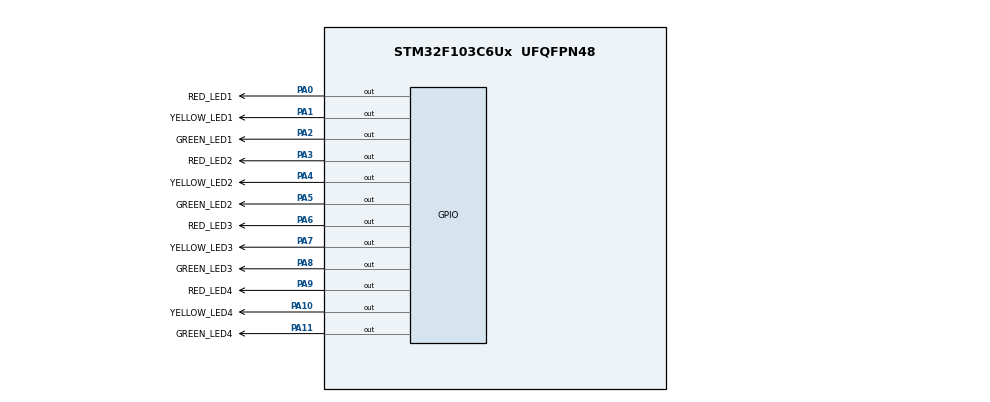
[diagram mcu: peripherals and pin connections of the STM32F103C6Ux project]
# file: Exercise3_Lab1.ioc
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Mcu.Family=STM32F1
Mcu.Name=STM32F103C6Ux
Mcu.Package=UFQFPN48
NVIC.PriorityGroup=NVIC_PRIORITYGROUP_4
PA0-WKUP.GPIO_Label=RED_LED1
PA0-WKUP.Signal=GPIO_Output
PA1.GPIO_Label=YELLOW_LED1
PA1.Signal=GPIO_Output
PA10.GPIO_Label=YELLOW_LED4
PA10.Signal=GPIO_Output
PA11.GPIO_Label=GREEN_LED4
PA11.Signal=GPIO_Output
PA2.GPIO_Label=GREEN_LED1
PA2.Signal=GPIO_Output
PA3.GPIO_Label=RED_LED2
PA3.Signal=GPIO_Output
PA4.GPIO_Label=YELLOW_LED2
PA4.Signal=GPIO_Output
PA5.GPIO_Label=GREEN_LED2
PA5.Signal=GPIO_Output
PA6.GPIO_Label=RED_LED3
PA6.Signal=GPIO_Output
PA7.GPIO_Label=YELLOW_LED3
PA7.Signal=GPIO_Output
PA8.GPIO_Label=GREEN_LED3
PA8.Signal=GPIO_Output
PA9.GPIO_Label=RED_LED4
PA9.Signal=GPIO_Output
ProjectManager.HeapSize=0x200
ProjectManager.StackSize=0x400
ProjectManager.TargetToolchain=STM32CubeIDE
RCC.APB1Freq_Value=8000000
RCC.APB2Freq_Value=8000000
VP_SYS_VS_ND.Mode=No_Debug
board=custom

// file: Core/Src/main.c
/* USER CODE BEGIN Header */
/**
  ******************************************************************************
  * @file           : main.c
  * @brief          : Main program body
  ******************************************************************************
  * @attention
  *
  * <h2><center>&copy; Copyright (c) 2025 STMicroelectronics.
  * All rights reserved.</center></h2>
  *
  * This software component is licensed by ST under BSD 3-Clause license,
  * the "License"; You may not use this file except in compliance with the
  * License. You may obtain a copy of the License at:
  *                        opensource.org/licenses/BSD-3-Clause
  *
  ******************************************************************************
  */
/* USER CODE END Header */
#include "main.h"

void SystemClock_Config(void);
static void MX_GPIO_Init(void);

int main(void)
{

  /* MCU Configuration--------------------------------------------------------*/

  /* Reset of all peripherals, Initializes the Flash interface and the Systick. */
  HAL_Init();

  /* Configure the system clock */
  SystemClock_Config();

  /* Initialize all configured peripherals */
  MX_GPIO_Init();

  /* Infinite loop */
  /* USER CODE BEGIN WHILE */
  typedef struct {
      int RED_STATE;
      int YELLOW_STATE;
      int GREEN_STATE;
      int counter;
      GPIO_TypeDef* RED_Port;
      uint16_t RED_Pin;
      GPIO_TypeDef* YELLOW_Port;
      uint16_t YELLOW_Pin;
      GPIO_TypeDef* GREEN_Port;
      uint16_t GREEN_Pin;
  } TrafficLight;
  void updateIntersection(TrafficLight* NS1, TrafficLight* NS2,
                             TrafficLight* EW1, TrafficLight* EW2, int* counter) {
         int t = *counter;

         if (t < 3) {
             NS1->RED_STATE = 0; NS1->YELLOW_STATE = 0; NS1->GREEN_STATE = 1;
             NS2->RED_STATE = 0; NS2->YELLOW_STATE = 0; NS2->GREEN_STATE = 1;

             EW1->RED_STATE = 1; EW1->YELLOW_STATE = 0; EW1->GREEN_STATE = 0;
             EW2->RED_STATE = 1; EW2->YELLOW_STATE = 0; EW2->GREEN_STATE = 0;
         }

         else if (t < 5) {
             NS1->RED_STATE = 0; NS1->YELLOW_STATE = 1; NS1->GREEN_STATE = 0;
             NS2->RED_STATE = 0; NS2->YELLOW_STATE = 1; NS2->GREEN_STATE = 0;

             EW1->RED_STATE = 1; EW1->YELLOW_STATE = 0; EW1->GREEN_STATE = 0;
             EW2->RED_STATE = 1; EW2->YELLOW_STATE = 0; EW2->GREEN_STATE = 0;
         }

         else if (t < 8) {
             NS1->RED_STATE = 1; NS1->YELLOW_STATE = 0; NS1->GREEN_STATE = 0;
             NS2->RED_STATE = 1; NS2->YELLOW_STATE = 0; NS2->GREEN_STATE = 0;

             EW1->RED_STATE = 0; EW1->YELLOW_STATE = 0; EW1->GREEN_STATE = 1;
             EW2->RED_STATE = 0; EW2->YELLOW_STATE = 0; EW2->GREEN_STATE = 1;
         }

         else {
             NS1->RED_STATE = 1; NS1->YELLOW_STATE = 0; NS1->GREEN_STATE = 0;
             NS2->RED_STATE = 1; NS2->YELLOW_STATE = 0; NS2->GREEN_STATE = 0;

             EW1->RED_STATE = 0; EW1->YELLOW_STATE = 1; EW1->GREEN_STATE = 0;
             EW2->RED_STATE = 0; EW2->YELLOW_STATE = 1; EW2->GREEN_STATE = 0;
         }

         (*counter)++;
         if (*counter >= 10) *counter = 0;
     }
  void applyTrafficLight(TrafficLight* light) {
      HAL_GPIO_WritePin(light->RED_Port, light->RED_Pin,
                        light->RED_STATE ? GPIO_PIN_RESET : GPIO_PIN_SET);
      HAL_GPIO_WritePin(light->YELLOW_Port, light->YELLOW_Pin,
                        light->YELLOW_STATE ? GPIO_PIN_RESET : GPIO_PIN_SET);
      HAL_GPIO_WritePin(light->GREEN_Port, light->GREEN_Pin,
                        light->GREEN_STATE ? GPIO_PIN_RESET : GPIO_PIN_SET);
  }

  TrafficLight TL1 = {1,0,0,0, RED_LED1_GPIO_Port, RED_LED1_Pin,
		  YELLOW_LED1_GPIO_Port, YELLOW_LED1_Pin,
		  GREEN_LED1_GPIO_Port, GREEN_LED1_Pin};

  TrafficLight TL2 = {1,0,0,0, RED_LED2_GPIO_Port, RED_LED2_Pin,
 		  YELLOW_LED2_GPIO_Port, YELLOW_LED2_Pin,
 		  GREEN_LED2_GPIO_Port, GREEN_LED2_Pin};

  TrafficLight TL3 = {1,0,0,0, RED_LED3_GPIO_Port, RED_LED3_Pin,
 		  YELLOW_LED3_GPIO_Port, YELLOW_LED3_Pin,
 		  GREEN_LED3_GPIO_Port, GREEN_LED3_Pin};

  TrafficLight TL4 = {1,0,0,0, RED_LED4_GPIO_Port, RED_LED4_Pin,
 		  YELLOW_LED4_GPIO_Port, YELLOW_LED4_Pin,
 		  GREEN_LED4_GPIO_Port, GREEN_LED4_Pin};

  int counter =0;
  while (1)
  {
    /* USER CODE END WHILE */
	  updateIntersection(&TL1, &TL3, &TL2, &TL4, &counter);
	  applyTrafficLight(&TL1);
	  applyTrafficLight(&TL2);
	  applyTrafficLight(&TL3);
	  applyTrafficLight(&TL4);
	  HAL_Delay(1000);
  }
}

void SystemClock_Config(void)
{
  RCC_OscInitTypeDef RCC_OscInitStruct = {0};
  RCC_ClkInitTypeDef RCC_ClkInitStruct = {0};

  /** Initializes the RCC Oscillators according to the specified parameters
  * in the RCC_OscInitTypeDef structure.
  */
  RCC_OscInitStruct.OscillatorType = RCC_OSCILLATORTYPE_HSI;
  RCC_OscInitStruct.HSIState = RCC_HSI_ON;
  RCC_OscInitStruct.HSICalibrationValue = RCC_HSICALIBRATION_DEFAULT;
  RCC_OscInitStruct.PLL.PLLState = RCC_PLL_NONE;
  if (HAL_RCC_OscConfig(&RCC_OscInitStruct) != HAL_OK)
  {
    Error_Handler();
  }
  /** Initializes the CPU, AHB and APB buses clocks
  */
  RCC_ClkInitStruct.ClockType = RCC_CLOCKTYPE_HCLK|RCC_CLOCKTYPE_SYSCLK
                              |RCC_CLOCKTYPE_PCLK1|RCC_CLOCKTYPE_PCLK2;
  RCC_ClkInitStruct.SYSCLKSource = RCC_SYSCLKSOURCE_HSI;
  RCC_ClkInitStruct.AHBCLKDivider = RCC_SYSCLK_DIV1;
  RCC_ClkInitStruct.APB1CLKDivider = RCC_HCLK_DIV1;
  RCC_ClkInitStruct.APB2CLKDivider = RCC_HCLK_DIV1;

  if (HAL_RCC_ClockConfig(&RCC_ClkInitStruct, FLASH_LATENCY_0) != HAL_OK)
  {
    Error_Handler();
  }
}

static void MX_GPIO_Init(void)
{
  GPIO_InitTypeDef GPIO_InitStruct = {0};

  /* GPIO Ports Clock Enable */
  __HAL_RCC_GPIOA_CLK_ENABLE();

  /*Configure GPIO pin Output Level */
  HAL_GPIO_WritePin(GPIOA, RED_LED1_Pin|YELLOW_LED1_Pin|GREEN_LED1_Pin|RED_LED2_Pin
                          |YELLOW_LED2_Pin|GREEN_LED2_Pin|RED_LED3_Pin|YELLOW_LED3_Pin
                          |GREEN_LED3_Pin|RED_LED4_Pin|YELLOW_LED4_Pin|GREEN_LED4_Pin, GPIO_PIN_RESET);

  /*Configure GPIO pins : RED_LED1_Pin YELLOW_LED1_Pin GREEN_LED1_Pin RED_LED2_Pin
                           YELLOW_LED2_Pin GREEN_LED2_Pin RED_LED3_Pin YELLOW_LED3_Pin
                           GREEN_LED3_Pin RED_LED4_Pin YELLOW_LED4_Pin GREEN_LED4_Pin */
  GPIO_InitStruct.Pin = RED_LED1_Pin|YELLOW_LED1_Pin|GREEN_LED1_Pin|RED_LED2_Pin
                          |YELLOW_LED2_Pin|GREEN_LED2_Pin|RED_LED3_Pin|YELLOW_LED3_Pin
                          |GREEN_LED3_Pin|RED_LED4_Pin|YELLOW_LED4_Pin|GREEN_LED4_Pin;
  GPIO_InitStruct.Mode = GPIO_MODE_OUTPUT_PP;
  GPIO_InitStruct.Pull = GPIO_NOPULL;
  GPIO_InitStruct.Speed = GPIO_SPEED_FREQ_LOW;
  HAL_GPIO_Init(GPIOA, &GPIO_InitStruct);

}

void Error_Handler(void)
{
  __disable_irq();
  while (1)
  {
  }
}

/************************ (C) COPYRIGHT STMicroelectronics *****END OF FILE****/
